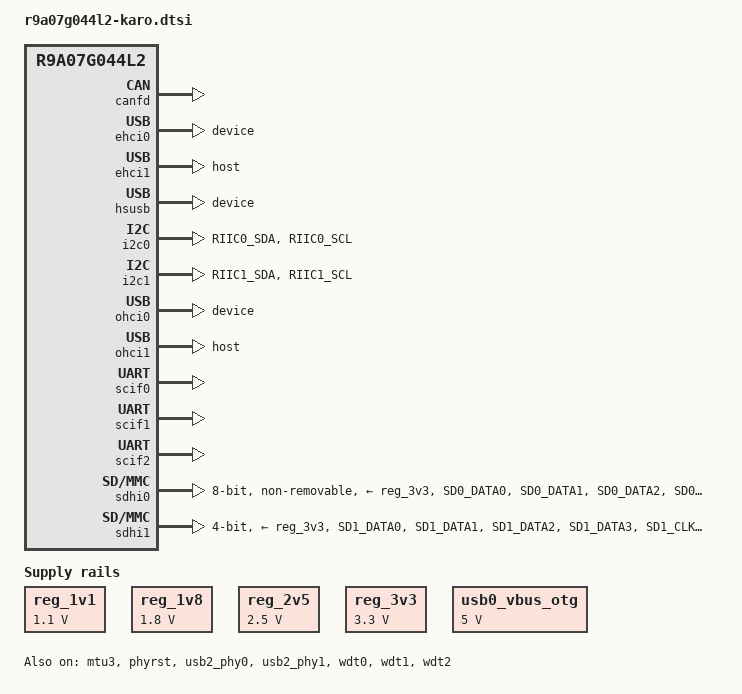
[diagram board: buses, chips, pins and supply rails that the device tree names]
// SPDX-License-Identifier: (GPL-2.0 OR BSD-3-Clause)
/*
 * Device Tree Include for the RZG2L based Ka-Ro CoMs
 *
 * Copyright (C) 2022 Markus Bauer <MB@karo-electronics.com>
 */

#include "r9a07g044l2.dtsi"
#include <dt-bindings/pinctrl/rzg2l-pinctrl.h>
#include <dt-bindings/gpio/gpio.h>

/ {
	aliases {
		ethernet0 = &eth0;
		i2c0 = &i2c0;
		i2c1 = &i2c1;
		mmc0 = &sdhi0;
		mmc1 = &sdhi1;
		serial0 = &scif0;
		serial1 = &scif1;
		serial2 = &scif2;
		usb-otg = &usb2_phy0;
		usb-host = &usb2_phy1;
	};

	chosen {
		stdout-path = "serial0:115200n8";
	};

	mmngr {
		compatible = "renesas,mmngr";
		memory-region = <&mmp_reserved>;
	};

	mmngrbuf {
		compatible = "renesas,mmngrbuf";
	};

	reg_1v1: regulator-vdd-core {
		compatible = "regulator-fixed";
		regulator-name = "fixed-1.1V";
		regulator-min-microvolt = <1100000>;
		regulator-max-microvolt = <1100000>;
		regulator-boot-on;
		regulator-always-on;
	};

	reg_1v8: regulator-1v8 {
		compatible = "regulator-fixed";
		regulator-name = "fixed-1.8V";
		regulator-min-microvolt = <1800000>;
		regulator-max-microvolt = <1800000>;
		regulator-boot-on;
		regulator-always-on;
	};

	reg_2v5: regulator-2v5 {
		compatible = "regulator-fixed";
		regulator-name = "fixed-2.5V";
		regulator-min-microvolt = <2500000>;
		regulator-max-microvolt = <2500000>;
		regulator-boot-on;
		regulator-always-on;
	};

	reg_3v3: regulator-3v3 {
		compatible = "regulator-fixed";
		regulator-name = "fixed-3.3V";
		regulator-min-microvolt = <3300000>;
		regulator-max-microvolt = <3300000>;
		regulator-boot-on;
		regulator-always-on;
	};

	reserved-memory {
		#address-cells = <2>;
		#size-cells = <2>;
		ranges;

		reserved: linux,cma@5c000000 {
			compatible = "shared-dma-pool";
			linux,cma-default;
			reusable;
			reg = <0x0 0x50000000 0x0 0x8000000>;
		};

		mmp_reserved: linux,multimedia {
			compatible = "shared-dma-pool";
			reusable;
			reg = <0x00000000 0x58000000 0x0 0x8000000>;
		};
	};

	usb0_vbus_otg: regulator-usb0-vbus-otg {
		compatible = "regulator-fixed";

		regulator-name = "USB0_VBUS_OTG";
		regulator-min-microvolt = <5000000>;
		regulator-max-microvolt = <5000000>;
	};

	vspm_if {
		compatible = "renesas,vspm_if";
	};
};

&canfd {
	pinctrl-names = "default";
	pinctrl-0 = <&can1_pins>;
	status = "okay";

	// channel 0 conflicts with LCD pins
	channel1 {
		status = "okay";
	};
};

&du {
	pinctrl-names = "default";
	pinctrl-0 = <&du_pins>;
};

&ehci0 {
	dr_mode = "device";
	status = "okay";
};

&ehci1 {
	dr_mode = "host";
	status = "okay";
};

&extal_clk {
	clock-frequency = <24000000>;
};

&gpu {
	mali-supply = <&reg_1v1>;
};

&hsusb {
	dr_mode = "device";
	status = "okay";
};

&i2c0 {
	pinctrl-names = "default";
	pinctrl-0 = <&i2c0_pins>;
	status = "okay";
};

&i2c1 {
	pinctrl-names = "default";
	pinctrl-0 = <&i2c1_pins>;
	status = "okay";
};

&mtu3 {
	status = "okay";
};

&ohci0 {
	dr_mode = "device";
	status = "okay";
};

&ohci1 {
	dr_mode = "host";
	status = "okay";
};

&phyrst {
	status = "okay";
};

&scif0 {
	pinctrl-names = "default";
	pinctrl-0 = <&scif0_pins>;
	uart-has-rtscts;
	status = "okay";
};

&scif1 {
	pinctrl-names = "default";
	pinctrl-0 = <&scif1_pins>;
	uart-has-rtscts;
	status = "okay";
};

&scif2 {
	pinctrl-names = "default";
	pinctrl-0 = <&scif2_pins>;
	uart-has-rtscts;
	status = "okay";
};

&sdhi0 {
	pinctrl-names = "default", "state_uhs";
	pinctrl-0 = <&sdhi0_emmc_pins>;
	pinctrl-1 = <&sdhi0_emmc_pins>;

	vmmc-supply = <&reg_3v3>;
	vqmmc-supply = <&reg_1v8>;
	bus-width = <8>;
	mmc-hs200-1_8v;
	non-removable;
	fixed-emmc-driver-type = <1>;
	status = "okay";
};

&sdhi1 {
	pinctrl-names = "default", "state_uhs";
	pinctrl-0 = <&sdhi1_sdcard_pins>;
	pinctrl-1 = <&sdhi1_sdcard_pins>;
	vmmc-supply = <&reg_3v3>;
	vqmmc-supply = <&reg_3v3>;
	bus-width = <4>;
};

&ssi0 {
	pinctrl-names = "default";
	pinctrl-0 = <&ssi0_pins>;
};

// otg
&usb2_phy0 {
	pinctrl-names = "default";
	pinctrl-0 = <&usb0_pins>;
	vbus-supply = <&usb0_vbus_otg>;
	renesas,no-otg-pins;
	status = "okay";
};

// host
&usb2_phy1 {
	pinctrl-names = "default";
	pinctrl-0 = <&usb1_pins>;
	status = "okay";
};

&wdt0 {
	status = "okay";
	timeout-sec = <60>;
};

&wdt1 {
	status = "okay";
	timeout-sec = <60>;
};

&wdt2 {
	status = "okay";
	timeout-sec = <60>;
};

&pinctrl {
	can1_pins: can1grp {
		pinmux = <
		          RZG2L_PORT_PINMUX(46, 0, 3)	/* TX */
			  RZG2L_PORT_PINMUX(46, 1, 3)	/* RX */
		>;
	};

	du_pins: dugrp {
		pinmux = <
		          RZG2L_PORT_PINMUX(7, 2, 1)	/* DISP_DATA0 */
			  RZG2L_PORT_PINMUX(8, 0, 1)	/* DISP_DATA1 */
			  RZG2L_PORT_PINMUX(8, 1, 1)	/* DISP_DATA2 */
			  RZG2L_PORT_PINMUX(8, 2, 1)	/* DISP_DATA3 */
			  RZG2L_PORT_PINMUX(9, 0, 1)	/* DISP_DATA4 */
			  RZG2L_PORT_PINMUX(9, 1, 1)	/* DISP_DATA5 */
			  RZG2L_PORT_PINMUX(10, 0, 1)	/* DISP_DATA6 */
			  RZG2L_PORT_PINMUX(10, 1, 1)	/* DISP_DATA7 */
			  RZG2L_PORT_PINMUX(11, 0, 1)	/* DISP_DATA8 */
			  RZG2L_PORT_PINMUX(11, 1, 1)	/* DISP_DATA9 */
			  RZG2L_PORT_PINMUX(12, 0, 1)	/* DISP_DATA10 */
			  RZG2L_PORT_PINMUX(12, 1, 1)	/* DISP_DATA11 */
			  RZG2L_PORT_PINMUX(13, 0, 1)	/* DISP_DATA12 */
			  RZG2L_PORT_PINMUX(13, 1, 1)	/* DISP_DATA13 */
			  RZG2L_PORT_PINMUX(13, 2, 1)	/* DISP_DATA14 */
			  RZG2L_PORT_PINMUX(14, 0, 1)	/* DISP_DATA15 */
			  RZG2L_PORT_PINMUX(14, 1, 1)	/* DISP_DATA16 */
			  RZG2L_PORT_PINMUX(15, 0, 1)	/* DISP_DATA17 */
			  RZG2L_PORT_PINMUX(15, 1, 1)	/* DISP_DATA18 */
			  RZG2L_PORT_PINMUX(16, 0, 1)	/* DISP_DATA19 */
			  RZG2L_PORT_PINMUX(16, 1, 1)	/* DISP_DATA20 */
			  RZG2L_PORT_PINMUX(17, 0, 1)	/* DISP_DATA21 */
			  RZG2L_PORT_PINMUX(17, 1, 1)	/* DISP_DATA22 */
			  RZG2L_PORT_PINMUX(17, 2, 1)	/* DISP_DATA23 */
			  RZG2L_PORT_PINMUX(6, 1, 1)	/* DISP_HSYNC */
			  RZG2L_PORT_PINMUX(7, 0, 1)	/* DISP_VSYNC */
			  RZG2L_PORT_PINMUX(7, 1, 1)	/* DISP_DE */
			  RZG2L_PORT_PINMUX(6, 0, 1)	/* DISP_CLK */
		>;
	};

	i2c0_pins: i2c0grp {
		pins = "RIIC0_SDA", "RIIC0_SCL";
		input-enable;
	};

	i2c1_pins: i2c1grp {
		pins = "RIIC1_SDA", "RIIC1_SCL";
		input-enable;
	};

	scif0_pins: scif0grp {
		pinmux = <
		       	  RZG2L_PORT_PINMUX(38, 0, 1)	/* TxD */
			  RZG2L_PORT_PINMUX(38, 1, 1)	/* RxD */
			  RZG2L_PORT_PINMUX(39, 1, 1)	/* CTS# */
			  RZG2L_PORT_PINMUX(39, 2, 1)	/* RTS# */
 		>;
	};

	scif1_pins: scif1grp {
		pinmux = <
		       	  RZG2L_PORT_PINMUX(40, 0, 1)	/* TxD */
			  RZG2L_PORT_PINMUX(40, 1, 1)	/* RxD */
			  RZG2L_PORT_PINMUX(41, 0, 1)	/* CTS# */
			  RZG2L_PORT_PINMUX(41, 1, 1)	/* RTS# */
		>;
	};

	scif2_pins: scif2grp {
		pinmux = <
		          RZG2L_PORT_PINMUX(48, 0, 1)	/* TxD */
			  RZG2L_PORT_PINMUX(48, 1, 1)	/* RxD */
			  RZG2L_PORT_PINMUX(48, 3, 1)	/* CTS# */
			  RZG2L_PORT_PINMUX(48, 4, 1)	/* RTS# */
		>;
	};

	sdhi0_emmc_pins: sd0-emmcgrp {
		sd0-emmc-data {
			pins = "SD0_DATA0", "SD0_DATA1", "SD0_DATA2", "SD0_DATA3",
			       "SD0_DATA4", "SD0_DATA5", "SD0_DATA6", "SD0_DATA7";
			power-source = <1800>;
		};

		sd0-emmc-ctrl {
			pins = "SD0_CLK", "SD0_CMD";
			power-source = <1800>;
		};

		sd0-emmc-rst {
			pins = "SD0_RST#";
			power-source = <1800>;
		};
	};

	sdhi1_sdcard_pins: sd1-sdgrp {
		sd1-data {
			pins = "SD1_DATA0", "SD1_DATA1", "SD1_DATA2", "SD1_DATA3";
			power-source = <3300>;
		};

		sd1-ctrl {
			pins = "SD1_CLK", "SD1_CMD";
			power-source = <3300>;
		};
	};

	ssi0_pins: ssi0grp {
		pinmux = <
		       	  RZG2L_PORT_PINMUX(45, 0, 1)	/* BCK */
			  RZG2L_PORT_PINMUX(45, 1, 1)	/* RCK */
			  RZG2L_PORT_PINMUX(45, 2, 1)	/* TXD */
			  RZG2L_PORT_PINMUX(45, 3, 1)	/* RXD */
		>;
	};

	usb0_pins: usb0grp {
		pinmux = <
		       	  RZG2L_PORT_PINMUX(4, 0, 1)	/* VBUS */
			  RZG2L_PORT_PINMUX(5, 0, 1)	/* OVC */
		>;
	};

	usb1_pins: usb1grp {
		pinmux = <
		          RZG2L_PORT_PINMUX(42, 0, 1)	/* VBUS */
			  RZG2L_PORT_PINMUX(42, 1, 1)	/* OVC */
		>;
	};
};
